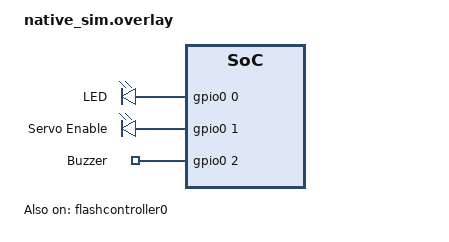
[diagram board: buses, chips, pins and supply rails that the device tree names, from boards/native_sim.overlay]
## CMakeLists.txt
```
cmake_minimum_required(VERSION 3.20.0)

find_package(Zephyr REQUIRED HINTS $ENV{ZEPHYR_BASE})

include(${ZEPHYR_FSW_MODULE_DIR}/cmake/Autocoders.cmake)


project(airbrake_flight_software LANGUAGES CXX)

target_compile_options(app PRIVATE -Wall -Wno-unused-parameter -Wno-unused-function -Wno-ignored-qualifiers)
FILE(GLOB app_sources src/*.cpp src/*.c)
target_sources(app PRIVATE ${app_sources})

AutocodeTypes(${CMAKE_SOURCE_DIR}/ac/types.yaml)
AutocodeNetworkDefinitions()
add_dependencies(app ac_types)

# Options for LUT Generator
set(LUT_SCRIPT_PATH ${CMAKE_SOURCE_DIR}/tools/lut_to_c.py)
set(LUT_DEFS_OUTPUT_PATH ${CMAKE_CURRENT_BINARY_DIR}/lut_generated/quantile_lut_data.h)
set(LUT_INPUT_PATH ${CMAKE_SOURCE_DIR}/data/controller_descriptions/risk_for_arib.json)


# LUT Generator implementation
get_filename_component(LUT_DEFS_OUTPUT_DIR ${LUT_DEFS_OUTPUT_PATH}
    DIRECTORY BASE_DIR ${APPLICATION_SOURCE_DIR})
make_directory(${LUT_DEFS_OUTPUT_DIR})


add_custom_command(
    OUTPUT ${LUT_DEFS_OUTPUT_PATH} ${LUT_DEFS_OUTPUT_DIR}
    COMMAND ${PYTHON_EXECUTABLE} ${LUT_SCRIPT_PATH} ${LUT_INPUT_PATH} > ${LUT_DEFS_OUTPUT_PATH}
    DEPENDS ${LUT_INPUT_PATH} ${LUT_SCRIPT_PATH}
    VERBATIM
    COMMENT "Generating Quantile LUT C Defines"
)

target_include_directories(app PRIVATE ${LUT_DEFS_OUTPUT_DIR})
target_sources(app PRIVATE ${LUT_DEFS_OUTPUT_PATH})
```

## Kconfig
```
source "Kconfig.zephyr"

module = APP_AIRBRAKE
module-str = APP_AIRBRAKE
source "subsys/logging/Kconfig.template.log_config"
```

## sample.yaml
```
sample:
  description: airbrake_ctrler
  name: airbrake_ctrler
common:
  build_only: true
  platform_allow:
    - control_freak
    - native_sim
tests:
  airbrake_ctrler.flight.default: {}
```

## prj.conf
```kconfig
# Program configs
CONFIG_MAIN_STACK_SIZE=8192

# Language Services
CONFIG_CPP=y
CONFIG_REQUIRES_FULL_LIBCPP=y
CONFIG_STD_CPP23=y

# OS Services
CONFIG_POLL=y
CONFIG_EVENTS=y
CONFIG_REBOOT=y
CONFIG_CONSOLE=y
CONFIG_BASE64=y

# Log
CONFIG_LOG=y
CONFIG_LOG_PRINTK=y
CONFIG_SHELL_LOG_BACKEND=y
CONFIG_CBPRINTF_FP_SUPPORT=y

CONFIG_FLASH_LOG_LEVEL_WRN=y
CONFIG_SENSOR_LOG_LEVEL_WRN=y

# Shell
CONFIG_UART_CONSOLE=y
CONFIG_SHELL=y
CONFIG_SHELL_PROMPT_CHANGE=y
CONFIG_SHELL_BACKEND_SERIAL=y

CONFIG_GPIO_SHELL=y
CONFIG_SENSOR_SHELL=n
CONFIG_FLASH_SHELL=y

# Flash storage
CONFIG_FLASH=y
CONFIG_FLASH_MAP=y
CONFIG_FLASH_PAGE_LAYOUT=y

# Sensor
CONFIG_SENSOR=y
CONFIG_SENSOR_INFO=y

CONFIG_ZSL=y
CONFIG_ZSL_SINGLE_PRECISION=y
```

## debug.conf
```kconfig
CONFIG_DEBUG=y
CONFIG_THREAD_NAME=y
CONFIG_DEBUG_THREAD_INFO=y

CONFIG_THREAD_ANALYZER=y
CONFIG_THREAD_ANALYZER_USE_PRINTK=y
CONFIG_THREAD_ANALYZER_AUTO=y
CONFIG_THREAD_ANALYZER_AUTO_INTERVAL=15
```

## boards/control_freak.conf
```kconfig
CONFIG_SPI_NOR_SLEEP_WHILE_WAITING_UNTIL_READY=y
# sector erase time typical is 45ms
CONFIG_SPI_NOR_SLEEP_ERASE_MS=20

CONFIG_CORTEX_M_SYSTICK_64BIT_CYCLE_COUNTER=y
CONFIG_DMA=y
CONFIG_SPI_STM32_DMA=y

CONFIG_I2C_STM32_BUS_RECOVERY=y

# Actual Devices
CONFIG_I2C=y
CONFIG_I2C_SHELL=y

CONFIG_PWM=y

CONFIG_SENSOR=y
CONFIG_LSM6DSL=y
CONFIG_BMP388=y
CONFIG_INA260=y

CONFIG_CMSIS_DSP=y
CONFIG_CMSIS_DSP_FILTERING=y
CONFIG_CMSIS_DSP_MATRIX=y
```

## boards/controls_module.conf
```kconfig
CONFIG_PWM=y
CONFIG_CMSIS_DSP=y
CONFIG_CMSIS_DSP_FILTERING=y
CONFIG_CMSIS_DSP_MATRIX=y
```

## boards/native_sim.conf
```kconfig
CONFIG_SYS_CLOCK_TICKS_PER_SEC=10000

CONFIG_GPIO_EMUL=y
CONFIG_FLASH_SIMULATOR=y
CONFIG_FLASH_SIMULATOR_MIN_ERASE_TIME_US=46000
CONFIG_FLASH_SIMULATOR_MIN_READ_TIME_US=5
CONFIG_FLASH_SIMULATOR_MIN_WRITE_TIME_US=3000

CONFIG_GPIO=y
CONFIG_LED=y
CONFIG_FLASH=y
CONFIG_FLASH_SIMULATOR_SIMULATE_TIMING=y
CONFIG_FLASH_SIMULATOR_DOUBLE_WRITES=y
CONFIG_ASAN=y


CONFIG_OPENROCKET_SENSORS=y

CONFIG_OPENROCKET_NOISE=y
CONFIG_OPENROCKET_NOISE_SEED=0
CONFIG_TEST_RANDOM_GENERATOR=y
CONFIG_XOSHIRO_RANDOM_GENERATOR=y
CONFIG_TIMER_RANDOM_GENERATOR=y

CONFIG_OPENROCKET_DATA_FILE="data/simulation_data/omen_with_airbrake_effects.csv"
CONFIG_OPENROCKET_MS_BEFORE_LAUNCH=10000
CONFIG_OPENROCKET_SCALAR_TYPE_DOUBLE=y
CONFIG_OPENROCKET_EVENT_LOG=n

CONFIG_OPENROCKET_IMU=y
CONFIG_OPENROCKET_BAROMETER=y
```

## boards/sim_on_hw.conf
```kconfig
CONFIG_OPENROCKET_SENSORS=y

CONFIG_OPENROCKET_NOISE=y
CONFIG_OPENROCKET_NOISE_SEED=0
CONFIG_TEST_RANDOM_GENERATOR=y
CONFIG_XOSHIRO_RANDOM_GENERATOR=y
CONFIG_TIMER_RANDOM_GENERATOR=y

CONFIG_OPENROCKET_DATA_FILE="data/simulation_data/tb2_fake_flight.csv"
CONFIG_OPENROCKET_MS_BEFORE_LAUNCH=10000
CONFIG_OPENROCKET_SCALAR_TYPE_DOUBLE=n
CONFIG_OPENROCKET_EVENT_LOG=n

CONFIG_OPENROCKET_IMU=y
CONFIG_OPENROCKET_BAROMETER=y
CONFIG_MS56XX=n
```

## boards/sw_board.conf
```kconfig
CONFIG_PWM=y
CONFIG_CMSIS_DSP=y
CONFIG_CMSIS_DSP_FILTERING=y
CONFIG_CMSIS_DSP_MATRIX=y

CONFIG_USBD_LOG_LEVEL_OFF=y
CONFIG_USBD_CDC_ACM_LOG_LEVEL_OFF=y
```

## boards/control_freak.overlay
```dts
/delete-node/ &lfs1;
/delete-node/ &super_fast_partition;
/delete-node/ &super_slow_partition;
/delete-node/ &super_yev_partition;
/delete-node/ &external_storage_partition;

/ {
	fstab{
		gfs1: gfs1 {
			status = "okay";
			compatible = "zephyr,fstab,gorbfs";
			mount-point = "/gfs1";
			partition = <&data_partition>;
			ram-cache-blocks = <4>;
			circle-size = <(100 * 5)>;// 5 seconds @ 100hz
			
		};
	};
};

&w25q128{
	partitions {
		compatible = "fixed-partitions";
		storage_partition: storage_partition@0{
			label = "storage_partition";
			reg = <0 DT_SIZE_M(2)>;
		};
		data_partition: data_partition@200000{
			label = "data_partition";
			reg = <0x200000 DT_SIZE_M(14)>;
		};
	};
};
```

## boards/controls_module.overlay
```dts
#include <zephyr/dt-bindings/sensor/lsm6dsv16x.h>

/{ 
    aliases {
        imu = &lsm6dsv;
        barom = &ms5611;
        servo = &servo1;
        servo-en = &servo5ven;
        buzzer = &buzzer;
    };

    servo1: servo1 {
        status = "okay";
        compatible = "pwm-servo";
        pwms = <&pwm2 4 PWM_USEC(3000) PWM_POLARITY_NORMAL>;
        min-pulse = <PWM_USEC(1200)>;
        max-pulse = <PWM_USEC(2032)>;
    };

};

&lsm6dsv{
    accel-range = <16>;
    accel-odr = <LSM6DSVXXX_DT_ODR_HA02_AT_100Hz>;
    gyro-range = <LSM6DSV16X_DT_FS_4000DPS>;
    gyro-odr = <LSM6DSVXXX_DT_ODR_HA02_AT_100Hz>;
};

&w25q128{
    partitions {
        bootcount_storage@0{
            reg = <0 DT_SIZE_K(8)>; // two pages
            label = "bootcount_storage";
        };
        parameter_storage@2000{
            reg = <0x2000 DT_SIZE_K(4)>; // 1 page
            label = "parameter_storage";
        };
        // hole/buffer so that we can use 64KB erases for this guy
        flight_storage@10000{
            // We don't need all of it (yet) and it would take forever to erase
            reg = <0x10000 DT_SIZE_K(3072)>; 
            label = "flight_storage";
        };
    };
};
```

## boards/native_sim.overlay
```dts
/ {
	chosen {
		storage = &flash0;
	};

	aliases {
		led0 = &led1;
		imu = &imu;
		barom = &barom;
		servo-en = &servo_en;
		buzzer = &buzzer;
	};

	leds {
		compatible = "gpio-leds";
		led1: led1 {
			gpios = <&gpio0 0 GPIO_ACTIVE_HIGH>;
			label = "LED";
		};
		servo_en: servo_en {
			gpios = <&gpio0 1 GPIO_ACTIVE_HIGH>;
			label = "Servo Enable";
		};
		buzzer: buzzer {
			gpios = <&gpio0 2 GPIO_ACTIVE_HIGH>;
			label = "Buzzer";
		};
	};

	imu: imu {
		status = "okay";
		compatible = "openrocket,imu";
		vertical-axis = "OPENROCKET_AXIS_Z";
		vertical-axis-invert;
		lateral-axis = "OPENROCKET_AXIS_X";
		lag-time-us = <2>; // 2 ms delay
		sampling-period-us = <10>;// 100 hz

		roll-axis = "OPENROCKET_AXIS_Z";
		pitch-axis = "OPENROCKET_AXIS_Y";
		yaw-axis = "OPENROCKET_AXIS_X";

		accel-noise = <0>;
		gyro-noise = <0>;
	};

	barom: barom {
		status = "okay";
		compatible = "openrocket,barometer";
		lag-time-us = <2>;
		sampling-period-us = <10>;
		temp-noise = <0>; // millicelsius - everett
		pressure-noise = <0>; // pascals
	};

};

&flashcontroller0 {
	status = "okay";
	compatible = "zephyr,sim-flash";
	reg = <0x00000000 DT_SIZE_M(129)>;

	#address-cells = <1>;
	#size-cells = <1>;
	erase-value = <0xff>;

	flash0: flash@0 {
		status = "okay";
		compatible = "soc-nv-flash";
		erase-block-size = <4096>;
		write-block-size = <1>;
		reg = <0x00000000 DT_SIZE_M(17)>; // builtin stuff + external flash simulation

		partitions {
			compatible = "fixed-partitions";
			#address-cells = <1>;
			#size-cells = <1>;

			bootcount_storage@10000{
				reg = <0x10000 DT_SIZE_K(8)>; // two pages
				label = "bootcount_storage";
			};
			parameter_storage@12000{
				reg = <0x12000 DT_SIZE_K(4)>; // 1 page
				label = "parameter_storage";
			};
			flight_storage@20000{
				reg = <0x20000 DT_SIZE_K(3072)>; 
				label = "flight_storage";
			};
		};
	};
};
```

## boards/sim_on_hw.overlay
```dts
/ {

	aliases {
		led0 = &led1;
		imu = &sim_imu;
		barom = &sim_barom;
	};

    sim_imu: sim_imu {
		status = "okay";
		compatible = "openrocket,imu";
		vertical-axis = "OPENROCKET_AXIS_Z";
		vertical-axis-invert;
		lateral-axis = "OPENROCKET_AXIS_X";
		lag-time-us = <2>; // 2 ms delay 
		sampling-period-us = <10>;// 100 hz

		roll-axis = "OPENROCKET_AXIS_Z";
		pitch-axis = "OPENROCKET_AXIS_X";
		yaw-axis = "OPENROCKET_AXIS_Y";

		accel-noise = <0>;
		gyro-noise = <0>;
	};

	sim_barom: sim_barom {
		status = "okay";
		compatible = "openrocket,barometer";
		lag-time-us = <2>;
		sampling-period-us = <10>;
		temp-noise = <0>; // millicelsius - everett
		pressure-noise = <0>; // pascals
	};

};
```

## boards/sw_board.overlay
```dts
#include <zephyr/dt-bindings/sensor/lsm6dsv16x.h>
#include <st/f4/stm32f446v(c-e)tx-pinctrl.dtsi>

/{ 
    aliases {
        imu = &lsm6dv;
        barom = &ms5607;
        servo = &servo1;
        servo-en = &servo1_pwr;
        buzzer = &led2;
    };

    servo1: servo1 {
        status = "okay";
        compatible = "pwm-servo";
        pwms = <&pwm2 1 PWM_USEC(3000) PWM_POLARITY_NORMAL>;
        min-pulse = <PWM_USEC(500)>;
        max-pulse = <PWM_USEC(2500)>;
    };

};
&lsm6dv{
    accel-range = <16>;
    accel-odr = <LSM6DSV16X_DT_ODR_HA02_AT_100Hz>;
    gyro-range = <LSM6DSV16X_DT_FS_4000DPS>;
    gyro-odr = <LSM6DSV16X_DT_ODR_HA02_AT_100Hz>;
};

&timers2{
    st,prescaler = <1000>;
    pwm2: pwm {
        status = "okay";
        pinctrl-0 = <&tim2_ch1_pa15>;
        pinctrl-names = "default";
    };
};


&w25q128{
    partitions {
        bootcount_storage@0{
            reg = <0 DT_SIZE_K(8)>; // two pages
            label = "bootcount_storage";
        };
        parameter_storage@2000{
            reg = <0x2000 DT_SIZE_K(4)>; // 1 page
            label = "parameter_storage";
        };
        // hole/buffer so that we can use 64KB erases for this guy
        flight_storage@10000{
            // DT_SIZE_K(16320) (~15.9 MB) left after this. 
            // We don't need all of it (yet) and it would take forever to erase
            reg = <0x10000 DT_SIZE_K(3072)>; 
            label = "flight_storage";
        };
    };
};
```

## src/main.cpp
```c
#include "math/matrix.hpp"
#include "n_boost.hpp"
#include "n_buzzer.hpp"
#include "n_model.hpp"
#include "n_preboost.hpp"
#include "n_sensing.hpp"
#include "n_storage.hpp"
#include "servo.hpp"

#include <zephyr/init.h>
#include <zephyr/kernel.h>
#include <zephyr/logging/log.h>
#include <zephyr/sys/atomic.h>
#include <cmath>

#include <zsl/orientation/quaternions.h>

LOG_MODULE_REGISTER(main, CONFIG_APP_AIRBRAKE_LOG_LEVEL);

SYS_INIT(servo_init, APPLICATION, 1);
SYS_INIT(storage_init, APPLICATION, 2);
SYS_INIT(buzzer_init, APPLICATION, 2);

K_TIMER_DEFINE(measurement_timer, NULL, NULL);

uint32_t packet_timestamp() {
    int64_t ms = k_uptime_get();
    return (uint32_t) ms;
}

// helper to return from main early if the main mission is cancelled via shell
#define RETURN0_IF_CANCELLED                                                                                           \
    if (IsFlightCancelled()) {                                                                                         \
        return 0;                                                                                                      \
    }

NTypes::GyroscopeData unbiasGyro(const NTypes::GyroscopeData &data, const NTypes::GyroscopeData &bias){
    return {
        .X = data.X - bias.X,
        .Y = data.Y - bias.Y,
        .Z = data.Z - bias.Z
    };
}


// returns whether or not we should reset our upcounter
bool actual_effort(int upcounter, float wanted_effort, bool out_of_bounds, uint16_t *state, float *effort){
    if (out_of_bounds){
        *state = StateOutOfPitchBounds;
        *effort = 0;
        return false;
    }

    // extending/extended
    if (upcounter < MAXIMUM_EFFORT_ITERATIONS){
        *effort = wanted_effort;
        *state = StateMaximumEffort;
        return false;
    }
    // retracting
    if (upcounter < MAXIMUM_EFFORT_ITERATIONS + DEAD_TIME_ITERATIONS){
        *effort = 0;
        *state = StateWaitingToSettle;
        return false;
    }
    if (upcounter < MAXIMUM_EFFORT_ITERATIONS + DEAD_TIME_ITERATIONS + OBSERVATION_TIME_ITERATIONS){
        *effort = 0;
        *state = StateJustLooking;
    }
    *state = StateJustLooking;
    // if on the last step before rollover, reset to 0
    return upcounter == (MAXIMUM_EFFORT_ITERATIONS + DEAD_TIME_ITERATIONS + OBSERVATION_TIME_ITERATIONS - 1);
}

int main() {

    EnableServo();
    SetServoEffort(0);
    NBuzzer::SetBuzzer(true);
    NBuzzer::SetBuzzer(false);
    k_msleep(500);
    NBuzzer::SetBuzzer(true);
    k_msleep(200);
    NBuzzer::SetBuzzer(false);
    DisableServo();


    NSensing::InitSensors();

    if (NStorage::HasStoredFlight()) {
        CancelFlight();
        LOG_WRN("NOT FLYING");
        NBuzzer::NotFlying();
        return 0;
    }

    k_timer_start(&measurement_timer, K_MSEC(10), K_MSEC(10));

    Packet packet{
        .timestamp = 0,
        .controller_state = StatePrelockout,
        .tempRaw = 0,
        .pressureRaw = 0,
        .accelRaw = 0,
        .gyro = {0},
        .kalmanState = {0},
        .kalmanInnovation = {0, 0},
        .orientationMatrix = {1, 0, 0, 0, 1, 0, 0, 0, 1},
        .effort = 0,
    };

    Parameters params{};
    params.bootcount = NStorage::GetBootcount();
    //NSensing::MeasureSensors(packet.tempRaw, packet.pressureRaw, packet.accelRaw, packet.gyro); Aiden flag
    float vertical = GetUpAxis(packet.accelRaw);

    NBoost::FeedDetector(vertical);

    // submit initial preboost packet (will almost certainly be overwritten but we want to get everything going before feeding the filter)
    NPreBoost::SubmitPreBoostPacket(packet);

    // servo not allowed until after under mach. disable to save power
    DisableServo();
    while (!NBoost::IsDetected()) {
        RETURN0_IF_CANCELLED;
        k_timer_status_sync(&measurement_timer);
        packet.timestamp = packet_timestamp();
        NSensing::MeasureSensors(packet.tempRaw, packet.pressureRaw, packet.accelRaw, packet.gyro);
        float vertical = GetUpAxis(packet.accelRaw);

        NBoost::FeedDetector(vertical);

        float altMeters = NModel::AltitudeMetersFromPressureKPa(packet.pressureRaw) - NPreBoost::GetGroundLevelASL();
        NModel::FeedKalman(altMeters, vertical, false); // always use real barometer data before boost (no servo extension yet)
        NModel::FillPacketWithKalmanInformation(packet.kalmanInnovation, packet.kalmanState);

        packet.effort = 0; // no fun until after burnout
        packet.controller_state = StatePrelockout;

        NPreBoost::SubmitPreBoostPacket(packet);
    }
    RETURN0_IF_CANCELLED;
    LOG_INF("Boost Detected");

    // behind schedule bc of boost detect lag
    uint32_t liftoffTimeMs = packet.timestamp - (NUM_SAMPLES_OVER_BOOST_THRESHOLD_REQUIRED * 10);
    NTypes::GyroscopeData bias = NPreBoost::GetGyroBias();
    float groundLevelASLMeters = NPreBoost::GetGroundLevelASL();

    params.timestampOfBoostDetect = packet.timestamp;
    params.gyroBias = bias;
    params.preBoostPressure = NPreBoost::GetGroundLevelPressure();
    NStorage::WriteParameters(&params);
    EnableServo();

    LOG_INF("Gyro Bias Estimate: %f %f %f", (double) bias.X, (double) bias.Y, (double) bias.Z);
    uint32_t preboostWriteHead = 0;

    // normal flight time
    uint16_t upcounter = 0;
    for (uint32_t i = 0; i < NUM_FLIGHT_PACKETS; i++) {
        RETURN0_IF_CANCELLED;
        k_timer_status_sync(&measurement_timer);

        packet.timestamp = packet_timestamp();
        bool preLockout = packet.timestamp < (liftoffTimeMs + LOCKOUT_MS);

        NSensing::MeasureSensors(packet.tempRaw, packet.pressureRaw, packet.accelRaw, packet.gyro);
        float altMeters = NModel::AltitudeMetersFromPressureKPa(packet.pressureRaw) - groundLevelASLMeters;
        float vertical = GetUpAxis(packet.accelRaw);



        NTypes::GyroscopeData unbiasedGyro = unbiasGyro(packet.gyro, bias);
        NModel::FeedGyro(packet.timestamp, unbiasedGyro);
        NModel::FillPacketWithOrientationMatrix(packet.orientationMatrix);


        bool shouldntTrustBarom = (upcounter < MAXIMUM_EFFORT_ITERATIONS + DEAD_TIME_ITERATIONS);
        NModel::FeedKalman(altMeters, vertical, shouldntTrustBarom && !preLockout);
        NModel::FillPacketWithKalmanInformation(packet.kalmanInnovation, packet.kalmanState);

        packet.effort = NModel::CalcActuatorEffort(packet.kalmanState.estAltitude, packet.kalmanState.estVelocity);

        if (!preLockout) {
            float actual_effort_value = 0;
            uint16_t state = 0;
            bool need_to_reset = actual_effort(upcounter, packet.effort, NModel::EverWentOutOfBounds(), &state, &actual_effort_value);
            packet.controller_state = (state << STATE_LOCATION) | (upcounter & UPCOUNTER_BITMASK);
            SetServoEffort(actual_effort_value);
            upcounter++;
            if (need_to_reset){
                upcounter = 0;
            }
        } else {
            packet.controller_state = StatePrelockout;
            upcounter = 0;
            // don't start counting yet
        }

        NStorage::WriteFlightPacket(i, &packet);



        // Write preboost if needed
        if (preboostWriteHead < NUM_STORED_PREBOOST_PACKETS) {
            NStorage::WritePreboostPacket(preboostWriteHead, NPreBoost::GetPreBoostPacketPtr(preboostWriteHead));
            preboostWriteHead++;
        }
    }
    LOG_INF("Flight over");
    DisableServo();
    CancelFlight();

    // happy beep for reco team
    while(true){
        NBuzzer::SetBuzzer(true);
        k_msleep(200);
        NBuzzer::SetBuzzer(false);
        k_msleep(50);
        NBuzzer::SetBuzzer(true);
        k_msleep(100);
        NBuzzer::SetBuzzer(false);
        k_msleep(50);
    }
}

static atomic_t flightCancelled = ATOMIC_INIT(0);
void CancelFlight() {
    atomic_t prev = atomic_set(&flightCancelled, ATOMIC_INIT(1));
    if (prev != ATOMIC_INIT(1)) {
        LOG_INF("Cancelled flight");
    }
}
bool IsFlightCancelled() { return atomic_get(&flightCancelled) == 1; }


float GetUpAxis(const NTypes::AccelerometerData &xyz){
    NTypes::AccelerometerData out{0,0,0};
    RotateIMUVectorToRocketVector(xyz, out);
    return out.Z;
}
void RotateIMUVectorToRocketVector(const NTypes::AccelerometerData &xyz, NTypes::AccelerometerData &out){
    zsl_quat p{.r = 0, .i = xyz.X, .j = xyz.Y, .k = xyz.Z};

    // q p q*
    zsl_quat intermediate;
    zsl_quat_mult(&IMU_TO_ROCKET_QUAT, &p, &intermediate);

    zsl_quat output;
    zsl_quat_mult(&intermediate, &IMU_TO_ROCKET_QUAT_CONJUGATE, &output);
    out.X = output.i;
    out.Y = output.j;
    out.Z = output.k;
}

void RotateRocketVectorToIMUVector(const NTypes::AccelerometerData &xyz, NTypes::AccelerometerData &out){
    zsl_quat p{.r = 0, .i = xyz.X, .j = xyz.Y, .k = xyz.Z};

    // q p q*
    zsl_quat intermediate;
    zsl_quat_mult(&IMU_TO_ROCKET_QUAT_CONJUGATE, &p, &intermediate);

    zsl_quat output;
    zsl_quat_mult(&intermediate, &IMU_TO_ROCKET_QUAT, &output);
    out.X = output.i;
    out.Y = output.j;
    out.Z = output.k;
}
```

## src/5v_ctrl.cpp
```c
#include "5v_ctrl.h"

#include <initializer_list>
#include <tuple>
#include <zephyr/drivers/gpio.h>
#include <zephyr/logging/log.h>
LOG_MODULE_REGISTER(rail5v);

static const struct gpio_dt_spec ldo_en = GPIO_DT_SPEC_GET(DT_ALIAS(ldo5v), gpios);
static const struct gpio_dt_spec servo_en = GPIO_DT_SPEC_GET(DT_NODELABEL(servo_enable), gpios);
static const struct gpio_dt_spec pump_enable = GPIO_DT_SPEC_GET(DT_NODELABEL(pump_enable), gpios);

const struct gpio_dt_spec buzzer = GPIO_DT_SPEC_GET(DT_ALIAS(buzz), gpios);

extern "C" {
// Prepares the GPIO
int five_volt_rail_init() {
    using Pair = std::tuple<const struct gpio_dt_spec *, const char *>;
    constexpr Pair pairs[4] = {
        Pair{&ldo_en, "ldo5v"},
        Pair{&servo_en, "servo"},
        Pair{&pump_enable, "pump"},
        Pair{&buzzer, "buzzer"},
    };
    for (auto [gpio, name] : pairs) {
        if (!gpio_is_ready_dt(gpio)) {
            LOG_WRN("No %s pin :(", name);
        }
        int ret = gpio_pin_configure_dt(gpio, GPIO_OUTPUT_INACTIVE);
        if (ret < 0) {
            LOG_WRN("Failed to conf %s pin:(", name);
            return ret;
        }
    }
    LOG_INF("5V Rail ready");
    return 0;
}
}
SYS_INIT(five_volt_rail_init, APPLICATION, 90);

static bool state[(int) FiveVoltItem::NumItems] = {false};

static int set_ldo_accordingly() { return gpio_pin_set_dt(&ldo_en, (state[0] || state[1] || state[2])); }
static int set_item(FiveVoltItem item, bool set) {
    if (item >= FiveVoltItem::NumItems) {
        LOG_WRN("Invalid 5v rail item");
        return -ENODEV;
    }
    state[(int) item] = set;
    if (item == FiveVoltItem::Buzzer) {
        return gpio_pin_set_dt(&buzzer, set);
    } else if (item == FiveVoltItem::Servos) {
        return gpio_pin_set_dt(&servo_en, set);
    } else {
        return gpio_pin_set_dt(&pump_enable, set);
    }
    return 0;
}
// CONFIG_PM who?
int rail_item_enable(FiveVoltItem item) { return rail_item_set(item, true); }

int rail_item_disable(FiveVoltItem item) { return rail_item_set(item, false); }

int rail_item_set(FiveVoltItem item, bool set) {
#if 0
#warning "Buzzer is fake"
    if (item == FiveVoltItem::Buzzer) {
        set_item(item, false);
        return set_ldo_accordingly();
    }
#endif
    set_item(item, set);
    return set_ldo_accordingly();
}
```

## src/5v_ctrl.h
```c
#pragma once
#include <cstdint>

enum class FiveVoltItem : uint8_t { Buzzer = 0, Servos = 1, Pump = 2, NumItems = 3 };
/*
5V Bus looks like this

                    +-- Servo Logic Shifter Enable---Servo Logic Shifters
VBAT---LDO Enable---+--       Buzzer Enable       ---Buzzer
                    +--       Pump Enable         ---Pump

The LDO draws a fair amount of current when running even when things downstream are off
This file allows controlling individual elements and automatically handling the LDO Enable pin 
*/

// enable a zone (if everything else is off, turn the rail on)
int rail_item_enable(FiveVoltItem item);

// disable a zone (if everything else is off, turn the rail off)
int rail_item_disable(FiveVoltItem item);

// change the state of a zone
int rail_item_set(FiveVoltItem item, bool state);
```

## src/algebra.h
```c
#include <math.h>
#include <stdint.h>
#include <stddef.h>
#include <stdbool.h>

struct vec2 {
    float s[2];
};
struct vec2T {
    float s[2];
};

struct vec2T transpose_vec2(const struct vec2 *v) { return (struct vec2T) {.s = {v->s[0], v->s[1]}}; }

struct vec4 {
    float s[4];
};
struct vec4T {
    float s[4];
};
struct vec4T transpose_vec4(const struct vec4 *v) { return (struct vec4T) {.s = {v->s[0], v->s[1], v->s[2], v->s[3]}}; }

struct mat4 {
    struct vec4 vs[4];
};
struct mat2 {
    struct vec2 vs[2];
};

struct mat2x4 {
    struct vec4 vs[2];
};
struct mat4x2 {
    struct vec2 vs[4];
};
struct mat4x2 transpose_mat4_2(const struct mat2x4 *v) { 
    return (struct mat4x2) {.vs = {
        {v->vs[0].s[0], v->vs[1].s[0]},
        {v->vs[0].s[1], v->vs[1].s[1]},
        {v->vs[0].s[2], v->vs[1].s[2]},
        {v->vs[0].s[3], v->vs[1].s[3]},
    }}; 
}


struct mat2 mul_s_m2(float scalar, const struct mat2 *mat) {
    struct mat2 out = {0};
    out.vs[0].s[0] = mat->vs[0].s[0] * scalar;
    out.vs[0].s[1] = mat->vs[0].s[1] * scalar;
    out.vs[1].s[0] = mat->vs[1].s[0] * scalar;
    out.vs[1].s[1] = mat->vs[1].s[1] * scalar;
    return out;
}

struct mat4 mul_m4_m4(const struct mat4 *a, const struct mat4 *b) {
    struct mat4 out = {0};
    for (size_t i = 0; i < 4; i++) {
        for (size_t j = 0; j < 4; j++) {
            for (size_t k = 0; k < 4; k++) {
                out.vs[i].s[j] += a->vs[i].s[k] * b->vs[k].s[j];
            }
        }
    }
    return out;
}

struct vec4 mul_m4_v4(const struct mat4 *m, const struct vec4 *v) {
    struct vec4 out = {0};
    for (size_t i = 0; i < 4; i++) {
        for (size_t j = 0; j < 4; j++) {
            out.s[i] += m->vs[i].s[j] *  v->s[j];
        }
    }
    return out;
}

struct mat4 transpose_m4(const struct mat4 *inp){
    struct mat4 out = {0};
    for (size_t i = 0; i < 4; i++){
        for (size_t j = 0; j < 4; j++){
            out.vs[i].s[j] = inp->vs[j].s[i];
        }
    }
    return out;
}

bool inv2x2(const struct mat2 *in, struct mat2 *out) {
    float det = (*in).vs[0].s[0] * (*in).vs[1].s[1] - (*in).vs[0].s[1] * (*in).vs[1].s[0]; // ad -bc;
    if (det == 0) {
        return false;
    }
    struct mat2 temp = {0};
    temp.vs[0].s[0] = in->vs[1].s[1];
    temp.vs[1].s[1] = in->vs[0].s[0];
    temp.vs[0].s[1] = -in->vs[0].s[1];
    temp.vs[1].s[0] = -in->vs[1].s[0];

    *out = mul_s_m2((1 / det), &temp);
    return true;
}
```

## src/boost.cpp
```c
#include "boost.h"

namespace Boost {
void feed_accel(const NTypes::AccelerometerData &data) {}
bool is_detected() { return false; }
} // namespace Boost
```

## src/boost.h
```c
#include "n_autocoder_types.h"

namespace Boost{
    void feed_accel(const NTypes::AccelerometerData &data);
    bool is_detected();
    // note: barometer based boost detection is not implemented as it would incur too much of a delay for the airbrakes to do anything 
}
```

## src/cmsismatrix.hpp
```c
#pragma once
#include "arm_math.h"

#include <array>
#include <cstdint>

template <std::size_t R, std::size_t C>
class CMSISMatrix {
  public:
    using Scalar = float32_t;

    CMSISMatrix() { arm_mat_init_f32(&inst, R, C, data); }
    constexpr CMSISMatrix(std::array<std::array<Scalar, C>, R> init) {
        for (std::size_t i = 0; i < R; i++) {
            for (std::size_t j = 0; j < C; j++) {
                data[(i * C) + j] = init[i][j];
            }
        }
        arm_mat_init_f32(&inst, R, C, data);
    }

    static constexpr CMSISMatrix Zeros() {
        CMSISMatrix m;
        for (std::size_t i = 0; i < R*C; i++){
            m.data[i] = 0;
        }
        arm_mat_init_f32(&m.inst, R, C, m.data);
        return m;
    }
    static constexpr CMSISMatrix Identity() {
        static_assert(R == C, "Matrix must be square to make a transpose");
        CMSISMatrix m = Zeros();
        for (std::size_t i = 0; i < R; i++) {
            m.data[(i * C) + i] = 1;
        }
        return m;
    }
    static constexpr CMSISMatrix Column(const std::array<Scalar, R> list) {
        static_assert(C == 1, "Column vector must be N by 1");
        CMSISMatrix m = Zeros();
        for (std::size_t i = 0; i < R; i++) {
            m.data[i * C] = list[i];
        }
        return m;
    }

    template <std::size_t R2, std::size_t C2>
    constexpr CMSISMatrix<R, C2> operator+(const CMSISMatrix<R2, C2> &lhs) const {
        static_assert(C == C2 && R == R2, "Dimensions must match to add");
        CMSISMatrix<R, C2> outp = CMSISMatrix{};
        arm_mat_add_f32(&this->inst, &lhs.inst, &outp.inst); 
        return outp;
    }
    template <std::size_t R2, std::size_t C2>
    constexpr CMSISMatrix<R, C2> operator-(const CMSISMatrix<R2, C2> &lhs) const {
        static_assert(C == C2 && R == R2, "Dimensions must match to subtract");
        CMSISMatrix<R, C2> outp = CMSISMatrix{};
        arm_mat_sub_f32(&this->inst, &lhs.inst, &outp.inst); 
        return outp;
    }

    template <std::size_t R2, std::size_t C2>
    constexpr CMSISMatrix<R, C2> operator*(const CMSISMatrix<R2, C2> &lhs) const {
        static_assert(C == R2, "Middles must match to multiply them");
        CMSISMatrix<R, C2> outp = CMSISMatrix<R, C2>::Zeros();
        arm_mat_mult_f32(&this->inst, &lhs.inst, &outp.inst); 

        return outp;
    }

    void Set(std::size_t r, std::size_t c, Scalar value) { data[r * C + c] = value; }
    Scalar Get(std::size_t r, std::size_t c) { return data[r * C + c]; }

    //   private:
    arm_matrix_instance_f32 inst = {};
    float32_t data[R * C] = {0};
};
```

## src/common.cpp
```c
#include "common.h"

#include <cmath>
#include <zephyr/drivers/sensor.h>
#include <zephyr/fs/fs.h>

int read_ina(const struct device *ina_dev, float &voltage, float &current) {

    struct sensor_value value;
    int ret = sensor_sample_fetch(ina_dev);
    if (ret != 0) {
        return ret;
    }
    sensor_channel_get(ina_dev, SENSOR_CHAN_CURRENT, &value);
    current = sensor_value_to_float(&value);
    if (current > 78) {
        // man the EEs gotta be missing something
        current = 0;
    }

    sensor_channel_get(ina_dev, SENSOR_CHAN_VOLTAGE, &value);
    voltage = sensor_value_to_float(&value);
    return 0;
}

int read_barom(const struct device *barom_dev, float &temp, float &press) {
    int ret = sensor_sample_fetch(barom_dev);
    if (ret != 0) {
        return ret;
    }
    struct sensor_value val;
    sensor_channel_get(barom_dev, SENSOR_CHAN_PRESS, &val);
    press = sensor_value_to_float(&val);

    sensor_channel_get(barom_dev, SENSOR_CHAN_AMBIENT_TEMP, &val);
    temp = sensor_value_to_float(&val);
    return 0;
}

int read_imu_up(const struct device *imu_dev, float &vert_axis) {
    int ret = sensor_sample_fetch(imu_dev);
    if (ret != 0) {
        return ret;
    }
    struct sensor_value val;
    ret = sensor_channel_get(imu_dev, SENSOR_CHAN_ACCEL_X, &val);
    if (ret != 0) {
        return ret;
    }
    vert_axis = sensor_value_to_float(&val);
    return 0;
}

int set_lsm_sampling(const struct device *imu_dev, int odr) {
#ifdef CONFIG_BOARD_NATIVE_SIM
    return 0;
#endif
    struct sensor_value sampling = {0};
    sensor_value_from_float(&sampling, odr);
    int ret = sensor_attr_set(imu_dev, SENSOR_CHAN_ACCEL_XYZ, SENSOR_ATTR_SAMPLING_FREQUENCY, &sampling);
    if (ret < 0) {
        printk("LSM6DSL: Couldnt set accel sampling\n");
        return ret;
    }
    ret = sensor_attr_set(imu_dev, SENSOR_CHAN_GYRO_XYZ, SENSOR_ATTR_SAMPLING_FREQUENCY, &sampling);
    if (ret < 0) {
        printk("LSM6DSL: Couldnt set gyro sampling\n");
        return ret;
    }
    return 0;
}

// Needed for sys init (seemingly)
extern "C" {
int init_boostdata_locked() {
    return 0;
}
}
SYS_INIT(init_boostdata_locked, APPLICATION, 0);
```

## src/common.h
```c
#ifndef FREAK_GORBFS_H
#define FREAK_GORBFS_H

#include "n_autocoder_types.h"

#include <stdbool.h>
#include <stdint.h>
#include <zephyr/device.h>

#define FAST_PACKET_ITEMS_PER_PACKET (sizeof(NTypes::FastPacket) / sizeof(NTypes::FastPacketItem))

enum class FlightState : uint8_t {
    NotSet = 0,
    OnPad = 1,
    Boost = 2,
    Flight = 3,
    Ground = 4,

};

enum DataLockMsg {
    Lock,
    Unlock,
};


int set_lsm_sampling(const struct device *imu_dev, int odr);

/**
 * @param ina_dev ina device
 * @param[out] voltage voltage that was read or unchanged on error
 * @param[out] current current that was read or unchanged on error
 */
int read_ina(const struct device *ina_dev, float &voltage, float &current);
int read_barom(const struct device *barom_dev, float &temp, float &press);
int read_imu_up(const struct device *imu_dev, float &vert_axis);



#endif
```

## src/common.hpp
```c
#pragma once
#include "n_autocoder_types.h"
#include "quantile_lut_data.h"

#include <cstddef>
#include <cstdint>
#include <zsl/orientation/quaternions.h>

enum class UpAxis : uint8_t {
    PosX = 0b000,
    NegX = 0b001,

    PosY = 0b010,
    NegY = 0b011,

    PosZ = 0b100,
    NegZ = 0b101,

    PosXPosY = 0b110,
    PosXNegY = 0b111,

    NegXPosY = 0b1000,
    NegXNegY = 0b1001,
};

constexpr float UpAxisFrom(UpAxis axis, const NTypes::AccelerometerData &acc) {
    constexpr float inv_sqrt2 = 0.7071067811865475;
    switch (axis) {
        case UpAxis::PosX:
            return acc.X;
        case UpAxis::PosY:
            return acc.Y;
        case UpAxis::PosZ:
            return acc.Z;
        case UpAxis::NegX:
            return -acc.X;
        case UpAxis::NegY:
            return -acc.Y;
        case UpAxis::NegZ:
            return -acc.Z;

        case UpAxis::PosXPosY:
            return (acc.X + acc.Y) * inv_sqrt2;
        case UpAxis::PosXNegY:
            return (acc.X - acc.Y) * inv_sqrt2;
        case UpAxis::NegXPosY:
            return (-acc.X + acc.Y) * inv_sqrt2;
        case UpAxis::NegXNegY:
            return -(acc.X + acc.Y) * inv_sqrt2;

        default:
            return 0;
    }
}

// time for burnout and decellerating under .8 mach after start of boost
constexpr uint32_t LOCKOUT_MS = AUTOGEN_LOCKOUT_MS;
// from boost to ground hit time
constexpr uint32_t FLIGHT_TIME_MS = AUTOGEN_FLIGHT_TIME_MS;
// number of packets at 100hz to save for that length
constexpr uint32_t NUM_FLIGHT_PACKETS = FLIGHT_TIME_MS / 10; // 100 a sec, 1 every 10ms

// number of packets stored preboost (in ram, dumped later)
constexpr size_t NUM_STORED_PREBOOST_PACKETS = 50;
// number of gyro samples that contribute to gyro bias calculation
constexpr size_t NUM_SAMPLES_FOR_GYRO_BIAS = 200;
// number of samples that are required to exceed boost threshold before we decide boost is decided
constexpr size_t NUM_SAMPLES_OVER_BOOST_THRESHOLD_REQUIRED = 25;
// thershold to exceed to start counting towards boost detect
constexpr float BOOST_DETECT_THRESHOLD_MS2 = 9.8 * 10;

constexpr float ATMOSPHERE[] = {AUTOGEN_ATMOSPHERE_COEFFICIENTS};

#ifdef CONFIG_OPENROCKET_SENSORS
inline zsl_quat IMU_TO_ROCKET_QUAT{1, 0, 0, 0};
inline zsl_quat IMU_TO_ROCKET_QUAT_CONJUGATE{1, 0, 0, 0};
#else
// linkers hate this one weird trick
// zsl_quat_mult doesnt take const parameters so just like dont modify these
inline zsl_quat IMU_TO_ROCKET_QUAT{AUTOGEN_IMU_TO_ROCKET_QUAT_INITIALIZER};
inline zsl_quat IMU_TO_ROCKET_QUAT_CONJUGATE{AUTOGEN_IMU_TO_ROCKET_QUAT_CONJUGATED_INITIALIZER};

#endif

struct KalmanState {
    float estAltitude;
    float estVelocity;
    float estAcceleration;
    float estBias;
};

struct Parameters {
    static constexpr uint32_t MAGIC = 2'435'220'000; // the number that louis told me
    uint32_t magic = MAGIC;                          // if equal to MAGIC, a flight has happened
    // measurments that need to be saved
    uint32_t timestampOfBoostDetect = {0};
    float preBoostPressure = {0};
    NTypes::GyroscopeData gyroBias = {0};
    uint32_t bootcount = {0};
    // constants so you don't accidentally misinterpret the data thats there if you've flashed since
    uint32_t lockoutMs = LOCKOUT_MS;
    uint32_t numFlightPackets = NUM_FLIGHT_PACKETS;
    uint32_t numPreboostPackets = NUM_STORED_PREBOOST_PACKETS;
    uint32_t numSamplesForGyroBias = NUM_SAMPLES_FOR_GYRO_BIAS;
    uint8_t controllerHash[LUT_MD5SUM_ARRAY_LEN] = {LUT_MD5SUM_INITIALIZER};
    float upAxisQuaternion[4] = {AUTOGEN_IMU_TO_ROCKET_QUAT_INITIALIZER};
    float atmosphere[AUTOGEN_ATMOSPHERE_NUM_COEFFECIENTS] = {AUTOGEN_ATMOSPHERE_COEFFICIENTS};
};

static_assert(sizeof(Parameters) == 100, "Check size of parameters");

struct Packet {
    uint32_t timestamp;
    float tempRaw;
    float pressureRaw;
    NTypes::AccelerometerData accelRaw;
    NTypes::GyroscopeData gyro;

    KalmanState kalmanState;

    float kalmanInnovation[2];
    float orientationMatrix[9];
    float effort;
};

static_assert(sizeof(Packet) == 100, "Check size of packet");

/**
 * Cancel flight from anywhere at anytime. 
 * Will stop the main mission to let you test or dump data
 * thread safe and cool
 */
void CancelFlight();

/**
 * Check if the flight has been cancelled
 * @return true if the flight has been cancelled. False otherwise
 */
bool IsFlightCancelled();

float GetUpAxis(const NTypes::AccelerometerData &xyz);
void RotateIMUVectorToRocketVector(const NTypes::AccelerometerData &xyz, NTypes::AccelerometerData &out);

void RotateRocketVectorToIMUVector(const NTypes::AccelerometerData &xyz, NTypes::AccelerometerData &out);
```

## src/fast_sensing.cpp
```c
#include "fast_sensing.h"

#include "boost.h"
#include "common.h"
#include "gorbfs.h"

#include <cmath>
#include <zephyr/device.h>
#include <zephyr/devicetree.h>
#include <zephyr/drivers/sensor.h>
#include <zephyr/logging/log.h>
#include <zephyr/shell/shell.h>
LOG_MODULE_REGISTER(sensing);

const struct device *ina_dev = DEVICE_DT_GET(DT_ALIAS(inaservo));
const struct device *imu_dev = DEVICE_DT_GET(DT_ALIAS(imu));
const struct device *barom_dev = DEVICE_DT_GET(DT_ALIAS(barom));

struct Measurements {
    float current;
    float voltage;
    float pressure;
    float temperature;
    float axis_accel;
};

int measure_all(Measurements *measurements) {
    int ina_ret = read_ina(ina_dev, measurements->voltage, measurements->current);
    int lsm_ret = read_imu_up(imu_dev, measurements->axis_accel);
    int bmp_ret = read_barom(barom_dev, measurements->temperature, measurements->pressure);
    if (ina_ret != 0) {
        LOG_WRN("Couldnt read ina: %d", ina_ret);
        return ina_ret;
    }
    if (lsm_ret != 0) {
        LOG_WRN("Couldnt read lsm: %d", lsm_ret);
        return lsm_ret;
    }
    if (bmp_ret != 0) {
        LOG_WRN("Couldnt read lsm: %d", bmp_ret);
        return bmp_ret;
    }
    return 0;
}

int boost_and_flight_sensing(const struct device *imu_dev,
                             const struct device *barom_dev, const struct device *ina_servo) {
    set_lsm_sampling(imu_dev, 1666);

    FlightState flight_state = FlightState::NotSet;

    // freak_controller->SubmitEvent(Sources::LSM6DSL, Events::PadReady);
    // freak_controller->SubmitEvent(Sources::BMP390, Events::PadReady);

    // freak_controller->WaitUntilEvent(Events::PadReady);
    flight_state = FlightState::OnPad;

    while (true) {
        NTypes::FastPacket *packet = NULL;
        for (size_t i = 0; i < FAST_PACKET_ITEMS_PER_PACKET; i++) {
            NTypes::FastPacketItem *item = &packet->items[i];
            Measurements meas = {0};
            measure_all(&meas);
            printf("Press: %f\n", (double)meas.pressure);
            
            
            k_msleep(10);
        }
    }

    return 0;
}
```

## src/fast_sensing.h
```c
#include "flight.h"

int boost_and_flight_sensing(const struct device *imu_dev,
                             const struct device *barom_dev, const struct device *ina_servo);
```
